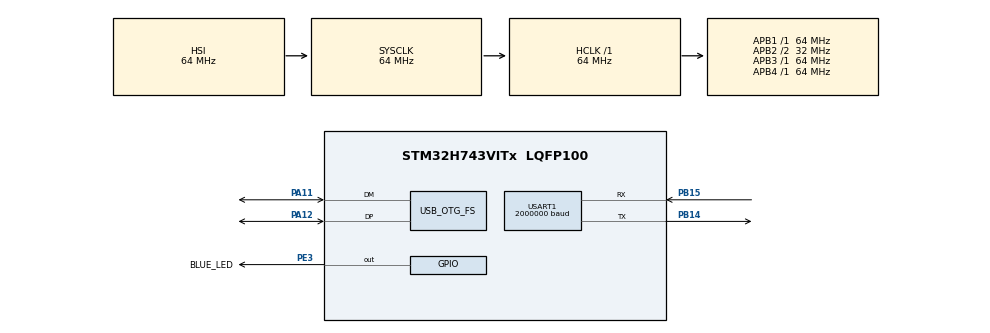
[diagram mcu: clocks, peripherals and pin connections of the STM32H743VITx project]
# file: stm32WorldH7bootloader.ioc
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CORTEX_M7.default_mode_Activation=1
Mcu.Family=STM32H7
Mcu.Name=STM32H743VITx
Mcu.Package=LQFP100
NVIC.OTG_FS_IRQn=true\:0\:0\:false\:false\:true\:false\:true\:true
NVIC.PriorityGroup=NVIC_PRIORITYGROUP_4
PA11.Mode=Device_Only
PA11.Signal=USB_OTG_FS_DM
PA12.Mode=Device_Only
PA12.Signal=USB_OTG_FS_DP
PA13\ (JTMS/SWDIO).Mode=Trace_Asynchronous_SW
PA13\ (JTMS/SWDIO).Signal=DEBUG_JTMS-SWDIO
PA14\ (JTCK/SWCLK).Mode=Trace_Asynchronous_SW
PA14\ (JTCK/SWCLK).Signal=DEBUG_JTCK-SWCLK
PB14.Mode=Asynchronous
PB14.Signal=USART1_TX
PB15.Mode=Asynchronous
PB15.Signal=USART1_RX
PB3\ (JTDO/TRACESWO).Mode=Trace_Asynchronous_SW
PB3\ (JTDO/TRACESWO).Signal=DEBUG_JTDO-SWO
PC14-OSC32_IN\ (OSC32_IN).Mode=LSE-External-Oscillator
PC14-OSC32_IN\ (OSC32_IN).Signal=RCC_OSC32_IN
PC15-OSC32_OUT\ (OSC32_OUT).Mode=LSE-External-Oscillator
PC15-OSC32_OUT\ (OSC32_OUT).Signal=RCC_OSC32_OUT
PE3.GPIO_Label=BLUE_LED
PE3.GPIO_ModeDefaultOutputPP=GPIO_MODE_OUTPUT_PP
PE3.GPIO_PuPd=GPIO_NOPULL
PE3.PinState=GPIO_PIN_RESET
PE3.Signal=GPIO_Output
PH0-OSC_IN\ (PH0).Mode=HSE-External-Oscillator
PH0-OSC_IN\ (PH0).Signal=RCC_OSC_IN
PH1-OSC_OUT\ (PH1).Mode=HSE-External-Oscillator
PH1-OSC_OUT\ (PH1).Signal=RCC_OSC_OUT
ProjectManager.HeapSize=0x200
ProjectManager.StackSize=0x400
ProjectManager.TargetToolchain=STM32CubeIDE
RCC.ADCFreq_Value=50390625
RCC.APB1Freq_Value=64000000
RCC.APB2Freq_Value=32000000
RCC.APB3Freq_Value=64000000
RCC.APB4Freq_Value=64000000
RCC.CortexFreq_Value=64000000
RCC.D2PPRE2=RCC_APB2_DIV2
RCC.DIVM1=5
RCC.DIVN1=48
RCC.DIVQ1=5
RCC.HCLKFreq_Value=64000000
RCC.PLL2FRACN=0
RCC.PLL3FRACN=0
RCC.PLLFRACN=0
RCC.SYSCLKFreq_VALUE=64000000
RCC.USBFreq_Value=48000000
USART1.BaudRate=2000000
USART1.VirtualMode-Asynchronous=VM_ASYNC
USB_DEVICE.CLASS_NAME_FS=DFU
USB_DEVICE.VirtualMode-DFU_FS=Dfu
USB_DEVICE.VirtualModeFS=Dfu_FS
USB_OTG_FS.VirtualMode=Device_Only
VP_MEMORYMAP_VS_MEMORYMAP.Mode=CurAppReg
VP_USB_DEVICE_VS_USB_DEVICE_DFU_FS.Mode=DFU_FS
board=custom

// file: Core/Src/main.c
/* USER CODE BEGIN Header */
/**
  ******************************************************************************
  * @file           : main.c
  * @brief          : Main program body
  ******************************************************************************
  * @attention
  *
  * Copyright (c) 2026 STMicroelectronics.
  * All rights reserved.
  *
  * This software is licensed under terms that can be found in the LICENSE file
  * in the root directory of this software component.
  * If no LICENSE file comes with this software, it is provided AS-IS.
  *
  ******************************************************************************
  */
/* USER CODE END Header */
#include "main.h"
#include "usb_device.h"

UART_HandleTypeDef huart1;

void SystemClock_Config(void);
static void MPU_Config(void);
static void MX_GPIO_Init(void);
static void MX_USART1_UART_Init(void);

/* USER CODE BEGIN 0 */
// map printf to huart 1
int __write(int fd, char *ptr, int len) {
	HAL_StatusTypeDef hstatus;

	if (fd == 1 || fd == 2) {
		hstatus = HAL_UART_Transmit(&huart1, (uint8_t*)ptr, len, HAL_MAX_DELAY);
		if (hstatus == HAL_OK)
			return len;
		else
			return -1;
	}
	return -1;
}
/* USER CODE END 0 */

int main(void)
{

  /* MPU Configuration--------------------------------------------------------*/
  MPU_Config();

  /* MCU Configuration--------------------------------------------------------*/

  /* Reset of all peripherals, Initializes the Flash interface and the Systick. */
  HAL_Init();

  /* Configure the system clock */
  SystemClock_Config();

  /* Initialize all configured peripherals */
  MX_GPIO_Init();
  MX_USART1_UART_Init();
  MX_USB_DEVICE_Init();
  /* USER CODE BEGIN 2 */
  printf("\n\n\n--------------\nBootloader\n");
  /* USER CODE END 2 */

  /* Infinite loop */
  /* USER CODE BEGIN WHILE */

  uint32_t now = 0, next_blink = 500, next_tick = 1000;
  while (1)
  {
//	  now = uwTick;
//	  if (now >= next_blink) {
//		  HAL_GPIO_TogglePin(BLUE_LED_GPIO_Port, BLUE_LED_Pin);
//		  next_blink = now + 500;
//	  }
//	  if (now >= next_tick) {
//		  printf("Tick %lu\n", now /1000);
//		  next_tick = now + 1000;
//	  }

	  HAL_GPIO_WritePin(BLUE_LED_GPIO_Port, BLUE_LED_Pin, GPIO_PIN_SET);
	  HAL_Delay(1000);
	  HAL_GPIO_WritePin(BLUE_LED_GPIO_Port, BLUE_LED_Pin, GPIO_PIN_RESET);
	  HAL_Delay(1000);
    /* USER CODE END WHILE */

  }
}

void SystemClock_Config(void)
{
  RCC_OscInitTypeDef RCC_OscInitStruct = {0};
  RCC_ClkInitTypeDef RCC_ClkInitStruct = {0};

  /** Supply configuration update enable
  */
  HAL_PWREx_ConfigSupply(PWR_LDO_SUPPLY);

  /** Configure the main internal regulator output voltage
  */
  __HAL_PWR_VOLTAGESCALING_CONFIG(PWR_REGULATOR_VOLTAGE_SCALE3);

  while(!__HAL_PWR_GET_FLAG(PWR_FLAG_VOSRDY)) {}

  /** Initializes the RCC Oscillators according to the specified parameters
  * in the RCC_OscInitTypeDef structure.
  */
  RCC_OscInitStruct.OscillatorType = RCC_OSCILLATORTYPE_HSI|RCC_OSCILLATORTYPE_HSE;
  RCC_OscInitStruct.HSEState = RCC_HSE_ON;
  RCC_OscInitStruct.HSIState = RCC_HSI_DIV1;
  RCC_OscInitStruct.HSICalibrationValue = RCC_HSICALIBRATION_DEFAULT;
  RCC_OscInitStruct.PLL.PLLState = RCC_PLL_ON;
  RCC_OscInitStruct.PLL.PLLSource = RCC_PLLSOURCE_HSE;
  RCC_OscInitStruct.PLL.PLLM = 5;
  RCC_OscInitStruct.PLL.PLLN = 48;
  RCC_OscInitStruct.PLL.PLLP = 2;
  RCC_OscInitStruct.PLL.PLLQ = 5;
  RCC_OscInitStruct.PLL.PLLR = 2;
  RCC_OscInitStruct.PLL.PLLRGE = RCC_PLL1VCIRANGE_2;
  RCC_OscInitStruct.PLL.PLLVCOSEL = RCC_PLL1VCOWIDE;
  RCC_OscInitStruct.PLL.PLLFRACN = 0;
  if (HAL_RCC_OscConfig(&RCC_OscInitStruct) != HAL_OK)
  {
    Error_Handler();
  }

  /** Initializes the CPU, AHB and APB buses clocks
  */
  RCC_ClkInitStruct.ClockType = RCC_CLOCKTYPE_HCLK|RCC_CLOCKTYPE_SYSCLK
                              |RCC_CLOCKTYPE_PCLK1|RCC_CLOCKTYPE_PCLK2
                              |RCC_CLOCKTYPE_D3PCLK1|RCC_CLOCKTYPE_D1PCLK1;
  RCC_ClkInitStruct.SYSCLKSource = RCC_SYSCLKSOURCE_HSI;
  RCC_ClkInitStruct.SYSCLKDivider = RCC_SYSCLK_DIV1;
  RCC_ClkInitStruct.AHBCLKDivider = RCC_HCLK_DIV1;
  RCC_ClkInitStruct.APB3CLKDivider = RCC_APB3_DIV1;
  RCC_ClkInitStruct.APB1CLKDivider = RCC_APB1_DIV1;
  RCC_ClkInitStruct.APB2CLKDivider = RCC_APB2_DIV2;
  RCC_ClkInitStruct.APB4CLKDivider = RCC_APB4_DIV1;

  if (HAL_RCC_ClockConfig(&RCC_ClkInitStruct, FLASH_LATENCY_1) != HAL_OK)
  {
    Error_Handler();
  }
}

static void MX_USART1_UART_Init(void)
{

  huart1.Instance = USART1;
  huart1.Init.BaudRate = 2000000;
  huart1.Init.WordLength = UART_WORDLENGTH_8B;
  huart1.Init.StopBits = UART_STOPBITS_1;
  huart1.Init.Parity = UART_PARITY_NONE;
  huart1.Init.Mode = UART_MODE_TX_RX;
  huart1.Init.HwFlowCtl = UART_HWCONTROL_NONE;
  huart1.Init.OverSampling = UART_OVERSAMPLING_16;
  huart1.Init.OneBitSampling = UART_ONE_BIT_SAMPLE_DISABLE;
  huart1.Init.ClockPrescaler = UART_PRESCALER_DIV1;
  huart1.AdvancedInit.AdvFeatureInit = UART_ADVFEATURE_NO_INIT;
  if (HAL_UART_Init(&huart1) != HAL_OK)
  {
    Error_Handler();
  }
  if (HAL_UARTEx_SetTxFifoThreshold(&huart1, UART_TXFIFO_THRESHOLD_1_8) != HAL_OK)
  {
    Error_Handler();
  }
  if (HAL_UARTEx_SetRxFifoThreshold(&huart1, UART_RXFIFO_THRESHOLD_1_8) != HAL_OK)
  {
    Error_Handler();
  }
  if (HAL_UARTEx_DisableFifoMode(&huart1) != HAL_OK)
  {
    Error_Handler();
  }

}

static void MX_GPIO_Init(void)
{
  GPIO_InitTypeDef GPIO_InitStruct = {0};

  /* GPIO Ports Clock Enable */
  __HAL_RCC_GPIOE_CLK_ENABLE();
  __HAL_RCC_GPIOC_CLK_ENABLE();
  __HAL_RCC_GPIOH_CLK_ENABLE();
  __HAL_RCC_GPIOB_CLK_ENABLE();
  __HAL_RCC_GPIOA_CLK_ENABLE();

  /*Configure GPIO pin Output Level */
  HAL_GPIO_WritePin(BLUE_LED_GPIO_Port, BLUE_LED_Pin, GPIO_PIN_RESET);

  /*Configure GPIO pin : BLUE_LED_Pin */
  GPIO_InitStruct.Pin = BLUE_LED_Pin;
  GPIO_InitStruct.Mode = GPIO_MODE_OUTPUT_PP;
  GPIO_InitStruct.Pull = GPIO_NOPULL;
  GPIO_InitStruct.Speed = GPIO_SPEED_FREQ_LOW;
  HAL_GPIO_Init(BLUE_LED_GPIO_Port, &GPIO_InitStruct);

}

 /* MPU Configuration */

void MPU_Config(void)
{
  MPU_Region_InitTypeDef MPU_InitStruct = {0};

  /* Disables the MPU */
  HAL_MPU_Disable();

  /** Initializes and configures the Region and the memory to be protected
  */
  MPU_InitStruct.Enable = MPU_REGION_ENABLE;
  MPU_InitStruct.Number = MPU_REGION_NUMBER0;
  MPU_InitStruct.BaseAddress = 0x0;
  MPU_InitStruct.Size = MPU_REGION_SIZE_4GB;
  MPU_InitStruct.SubRegionDisable = 0x87;
  MPU_InitStruct.TypeExtField = MPU_TEX_LEVEL0;
  MPU_InitStruct.AccessPermission = MPU_REGION_NO_ACCESS;
  MPU_InitStruct.DisableExec = MPU_INSTRUCTION_ACCESS_DISABLE;
  MPU_InitStruct.IsShareable = MPU_ACCESS_SHAREABLE;
  MPU_InitStruct.IsCacheable = MPU_ACCESS_NOT_CACHEABLE;
  MPU_InitStruct.IsBufferable = MPU_ACCESS_NOT_BUFFERABLE;

  HAL_MPU_ConfigRegion(&MPU_InitStruct);
  /* Enables the MPU */
  HAL_MPU_Enable(MPU_PRIVILEGED_DEFAULT);

}

void Error_Handler(void)
{
  __disable_irq();
  while (1)
  {
  }
}
